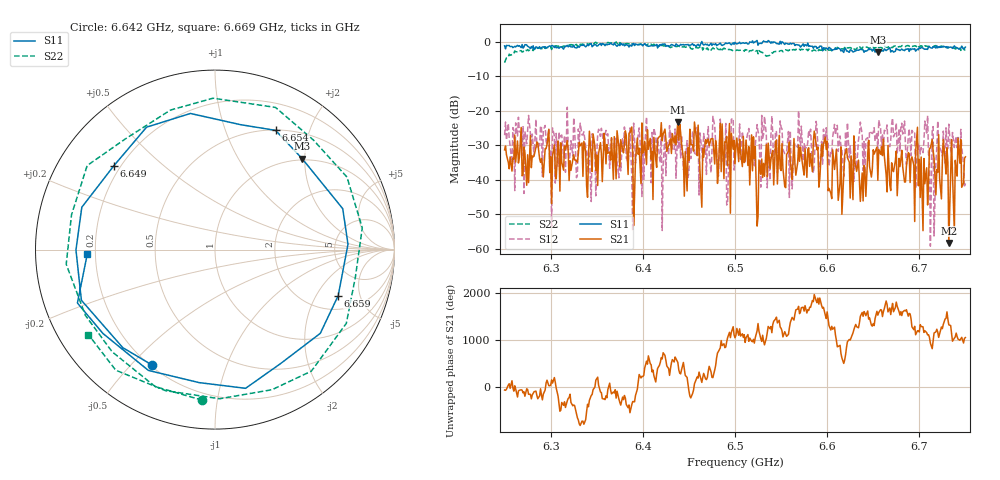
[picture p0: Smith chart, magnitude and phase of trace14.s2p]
# Hz S RI R 50
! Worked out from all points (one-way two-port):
!   401 points, 6.25 GHz to 6.75 GHz, reference 50 ohm
!   highest |S21| = -23.22 dB at 6.438 GHz (marker M1); lowest = -58.3 dB at 6.732 GHz (marker M2)
!   lowest |S11| = -3.1 dB at 6.655 GHz (marker M3), VSWR 5.71, Z = 48.7 + j97.2 ohm
!   |S11| at or under -10 dB: nowhere
!   |S22| runs from -6.0 to -0.1 dB; largest |S21 - S12| = 0.13
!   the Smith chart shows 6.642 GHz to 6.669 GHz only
!   S11 on the Smith chart (normalised r, x): 6.642 GHz: 0.21, -0.57; 6.649 GHz: 0.17, +0.35; 6.654 GHz: 0.51, +1.51; 6.659 GHz: 2.82, -3.12; 6.669 GHz: 0.17, -0.02
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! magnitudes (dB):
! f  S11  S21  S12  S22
! 6.25 GHz  -1.2  -31.3  -27.0  -6.0
! 6.302 GHz  -1.1  -33.0  -24.9  -1.4
! 6.334 GHz  -1.0  -29.3  -27.0  -0.8
! 6.341 GHz  -1.1  -33.7  -31.2  -0.8
! 6.354 GHz  -0.5  -29.2  -27.4  -0.6
! 6.418 GHz  -0.9  -27.4  -33.4  -1.2
! 6.438 GHz  -1.1  -23.2  -24.4  -1.3
! 6.446 GHz  -0.8  -31.8  -34.1  -1.6
! 6.5 GHz  -0.2  -35.3  -32.7  -2.5
! 6.526 GHz  -0.5  -34.2  -26.8  -2.5
! 6.584 GHz  -1.3  -37.6  -35.8  -2.7
! 6.642 GHz  -2.7  -44.8  -28.2  -1.5
! 6.649 GHz  -2.7  -36.8  -26.5  -1.7
! 6.654 GHz  -2.6  -30.5  -26.2  -1.5
! 6.655 GHz  -3.1  -40.1  -31.6  -1.3
! 6.659 GHz  -2.7  -30.4  -30.8  -1.6
! 6.668 GHz  -1.7  -41.5  -30.4  -1.2
! 6.669 GHz  -3.0  -43.1  -28.4  -1.4
! 6.708 GHz  -2.1  -36.5  -26.4  -1.3
! 6.715 GHz  -1.4  -31.6  -24.5  -1.6
! 6.732 GHz  -1.6  -58.3  -23.9  -1.6
! 6.75 GHz  -1.5  -33.3  -41.0  -2.3
